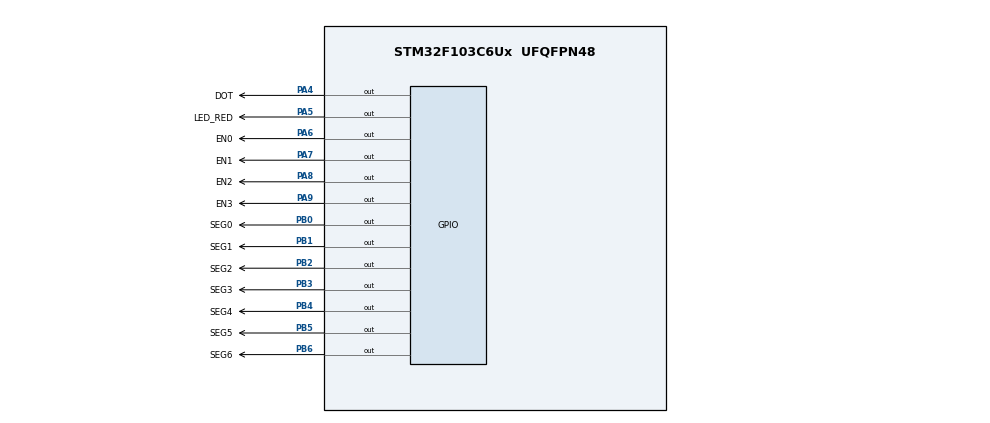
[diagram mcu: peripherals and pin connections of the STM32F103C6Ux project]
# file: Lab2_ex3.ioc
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Mcu.Family=STM32F1
Mcu.Name=STM32F103C6Ux
Mcu.Package=UFQFPN48
NVIC.PriorityGroup=NVIC_PRIORITYGROUP_4
NVIC.TIM2_IRQn=true\:0\:0\:false\:false\:true\:true\:true
PA4.GPIO_Label=DOT
PA4.Signal=GPIO_Output
PA5.GPIO_Label=LED_RED
PA5.Signal=GPIO_Output
PA6.GPIO_Label=EN0
PA6.Signal=GPIO_Output
PA7.GPIO_Label=EN1
PA7.Signal=GPIO_Output
PA8.GPIO_Label=EN2
PA8.Signal=GPIO_Output
PA9.GPIO_Label=EN3
PA9.Signal=GPIO_Output
PB0.GPIO_Label=SEG0
PB0.Signal=GPIO_Output
PB1.GPIO_Label=SEG1
PB1.Signal=GPIO_Output
PB2.GPIO_Label=SEG2
PB2.Signal=GPIO_Output
PB3.GPIO_Label=SEG3
PB3.Signal=GPIO_Output
PB4.GPIO_Label=SEG4
PB4.Signal=GPIO_Output
PB5.GPIO_Label=SEG5
PB5.Signal=GPIO_Output
PB6.GPIO_Label=SEG6
PB6.Signal=GPIO_Output
ProjectManager.HeapSize=0x200
ProjectManager.StackSize=0x400
ProjectManager.TargetToolchain=STM32CubeIDE
RCC.APB1Freq_Value=8000000
RCC.APB2Freq_Value=8000000
TIM2.Period=9
TIM2.Prescaler=7999
VP_SYS_VS_ND.Mode=No_Debug
VP_TIM2_VS_ClockSourceINT.Mode=Internal
board=custom

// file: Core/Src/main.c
/* USER CODE BEGIN Header */
/**
  ******************************************************************************
  * @file           : main.c
  * @brief          : Main program body
  ******************************************************************************
  * @attention
  *
  * <h2><center>&copy; Copyright (c) 2022 STMicroelectronics.
  * All rights reserved.</center></h2>
  *
  * This software component is licensed by ST under BSD 3-Clause license,
  * the "License"; You may not use this file except in compliance with the
  * License. You may obtain a copy of the License at:
  *                        opensource.org/licenses/BSD-3-Clause
  *
  ******************************************************************************
  */
/* USER CODE END Header */
#include "main.h"

TIM_HandleTypeDef htim2;

void SystemClock_Config(void);
static void MX_TIM2_Init(void);
static void MX_GPIO_Init(void);

/* USER CODE BEGIN 0 */
void display7SEG(int num) {
	if (num==0) {
		HAL_GPIO_WritePin(SEG0_GPIO_Port, SEG0_Pin, RESET);
		HAL_GPIO_WritePin(SEG1_GPIO_Port, SEG1_Pin, RESET);
		HAL_GPIO_WritePin(SEG2_GPIO_Port, SEG2_Pin, RESET);
		HAL_GPIO_WritePin(SEG3_GPIO_Port, SEG3_Pin, RESET);
		HAL_GPIO_WritePin(SEG4_GPIO_Port, SEG4_Pin, RESET);
		HAL_GPIO_WritePin(SEG5_GPIO_Port, SEG5_Pin, RESET);
		HAL_GPIO_WritePin(SEG6_GPIO_Port, SEG6_Pin, SET);
	}
	if (num==1) {
		HAL_GPIO_WritePin(SEG0_GPIO_Port, SEG0_Pin, SET);
		HAL_GPIO_WritePin(SEG1_GPIO_Port, SEG1_Pin, RESET);
		HAL_GPIO_WritePin(SEG2_GPIO_Port, SEG2_Pin, RESET);
		HAL_GPIO_WritePin(SEG3_GPIO_Port, SEG3_Pin, SET);
		HAL_GPIO_WritePin(SEG4_GPIO_Port, SEG4_Pin, SET);
		HAL_GPIO_WritePin(SEG5_GPIO_Port, SEG5_Pin, SET);
		HAL_GPIO_WritePin(SEG6_GPIO_Port, SEG6_Pin, SET);
	}
	if (num==2) {
		HAL_GPIO_WritePin(SEG0_GPIO_Port, SEG0_Pin, RESET);
		HAL_GPIO_WritePin(SEG1_GPIO_Port, SEG1_Pin, RESET);
		HAL_GPIO_WritePin(SEG2_GPIO_Port, SEG2_Pin, SET);
		HAL_GPIO_WritePin(SEG3_GPIO_Port, SEG3_Pin, RESET);
		HAL_GPIO_WritePin(SEG4_GPIO_Port, SEG4_Pin, RESET);
		HAL_GPIO_WritePin(SEG5_GPIO_Port, SEG5_Pin, SET);
		HAL_GPIO_WritePin(SEG6_GPIO_Port, SEG6_Pin, RESET);
	}
	if (num==3) {
		HAL_GPIO_WritePin(SEG0_GPIO_Port, SEG0_Pin, RESET);
		HAL_GPIO_WritePin(SEG1_GPIO_Port, SEG1_Pin, RESET);
		HAL_GPIO_WritePin(SEG2_GPIO_Port, SEG2_Pin, RESET);
		HAL_GPIO_WritePin(SEG3_GPIO_Port, SEG3_Pin, RESET);
		HAL_GPIO_WritePin(SEG4_GPIO_Port, SEG4_Pin, SET);
		HAL_GPIO_WritePin(SEG5_GPIO_Port, SEG5_Pin, SET);
		HAL_GPIO_WritePin(SEG6_GPIO_Port, SEG6_Pin, RESET);
	}
	if (num==4) {
		HAL_GPIO_WritePin(SEG0_GPIO_Port, SEG0_Pin, SET);
		HAL_GPIO_WritePin(SEG1_GPIO_Port, SEG1_Pin, RESET);
		HAL_GPIO_WritePin(SEG2_GPIO_Port, SEG2_Pin, RESET);
		HAL_GPIO_WritePin(SEG3_GPIO_Port, SEG3_Pin, SET);
		HAL_GPIO_WritePin(SEG4_GPIO_Port, SEG4_Pin, SET);
		HAL_GPIO_WritePin(SEG5_GPIO_Port, SEG5_Pin, RESET);
		HAL_GPIO_WritePin(SEG6_GPIO_Port, SEG6_Pin, RESET);
	}
	if (num==5) {
		HAL_GPIO_WritePin(SEG0_GPIO_Port, SEG0_Pin, RESET);
		HAL_GPIO_WritePin(SEG1_GPIO_Port, SEG1_Pin, SET);
		HAL_GPIO_WritePin(SEG2_GPIO_Port, SEG2_Pin, RESET);
		HAL_GPIO_WritePin(SEG3_GPIO_Port, SEG3_Pin, RESET);
		HAL_GPIO_WritePin(SEG4_GPIO_Port, SEG4_Pin, SET);
		HAL_GPIO_WritePin(SEG5_GPIO_Port, SEG5_Pin, RESET);
		HAL_GPIO_WritePin(SEG6_GPIO_Port, SEG6_Pin, RESET);
	}
	if (num==6) {
		HAL_GPIO_WritePin(SEG0_GPIO_Port, SEG0_Pin, RESET);
		HAL_GPIO_WritePin(SEG1_GPIO_Port, SEG1_Pin, SET);
		HAL_GPIO_WritePin(SEG2_GPIO_Port, SEG2_Pin, RESET);
		HAL_GPIO_WritePin(SEG3_GPIO_Port, SEG3_Pin, RESET);
		HAL_GPIO_WritePin(SEG4_GPIO_Port, SEG4_Pin, RESET);
		HAL_GPIO_WritePin(SEG5_GPIO_Port, SEG5_Pin, RESET);
		HAL_GPIO_WritePin(SEG6_GPIO_Port, SEG6_Pin, RESET);
	}
	if (num==7) {
		HAL_GPIO_WritePin(SEG0_GPIO_Port, SEG0_Pin, RESET);
		HAL_GPIO_WritePin(SEG1_GPIO_Port, SEG1_Pin, RESET);
		HAL_GPIO_WritePin(SEG2_GPIO_Port, SEG2_Pin, RESET);
		HAL_GPIO_WritePin(SEG3_GPIO_Port, SEG3_Pin, SET);
		HAL_GPIO_WritePin(SEG4_GPIO_Port, SEG4_Pin, SET);
		HAL_GPIO_WritePin(SEG5_GPIO_Port, SEG5_Pin, SET);
		HAL_GPIO_WritePin(SEG6_GPIO_Port, SEG6_Pin, SET);
	}
	if (num==8) {
		HAL_GPIO_WritePin(SEG0_GPIO_Port, SEG0_Pin, RESET);
		HAL_GPIO_WritePin(SEG1_GPIO_Port, SEG1_Pin, RESET);
		HAL_GPIO_WritePin(SEG2_GPIO_Port, SEG2_Pin, RESET);
		HAL_GPIO_WritePin(SEG3_GPIO_Port, SEG3_Pin, RESET);
		HAL_GPIO_WritePin(SEG4_GPIO_Port, SEG4_Pin, RESET);
		HAL_GPIO_WritePin(SEG5_GPIO_Port, SEG5_Pin, RESET);
		HAL_GPIO_WritePin(SEG6_GPIO_Port, SEG6_Pin, RESET);
	}
	if (num==9) {
		HAL_GPIO_WritePin(SEG0_GPIO_Port, SEG0_Pin, RESET);
		HAL_GPIO_WritePin(SEG1_GPIO_Port, SEG1_Pin, RESET);
		HAL_GPIO_WritePin(SEG2_GPIO_Port, SEG2_Pin, RESET);
		HAL_GPIO_WritePin(SEG3_GPIO_Port, SEG3_Pin, RESET);
		HAL_GPIO_WritePin(SEG4_GPIO_Port, SEG4_Pin, SET);
		HAL_GPIO_WritePin(SEG5_GPIO_Port, SEG5_Pin, RESET);
		HAL_GPIO_WritePin(SEG6_GPIO_Port, SEG6_Pin, RESET);
	}
}
const int MAX_LED=4;
int index_led=0;
int led_buffer[4]={1,2,3,4};
void update7SEG(int index) {
	switch (index){
	case 0:
		HAL_GPIO_WritePin(EN0_GPIO_Port, EN0_Pin, RESET);
		HAL_GPIO_WritePin(EN1_GPIO_Port, EN1_Pin, SET);
		HAL_GPIO_WritePin(EN2_GPIO_Port, EN2_Pin, SET);
		HAL_GPIO_WritePin(EN3_GPIO_Port, EN3_Pin, SET);
		display7SEG(led_buffer[0]);
		break;
	case 1:
		HAL_GPIO_WritePin(EN0_GPIO_Port, EN0_Pin, SET);
		HAL_GPIO_WritePin(EN1_GPIO_Port, EN1_Pin, RESET);
		HAL_GPIO_WritePin(EN2_GPIO_Port, EN2_Pin, SET);
		HAL_GPIO_WritePin(EN3_GPIO_Port, EN3_Pin, SET);
		display7SEG(led_buffer[1]);
		break;
	case 2:
		HAL_GPIO_WritePin(EN0_GPIO_Port, EN0_Pin, SET);
		HAL_GPIO_WritePin(EN1_GPIO_Port, EN1_Pin, SET);
		HAL_GPIO_WritePin(EN2_GPIO_Port, EN2_Pin, SET);
		HAL_GPIO_WritePin(EN3_GPIO_Port, EN3_Pin, RESET);
		display7SEG(led_buffer[2]);
		break;
	case 3:
		HAL_GPIO_WritePin(EN0_GPIO_Port, EN0_Pin, SET);
		HAL_GPIO_WritePin(EN1_GPIO_Port, EN1_Pin, SET);
		HAL_GPIO_WritePin(EN2_GPIO_Port, EN2_Pin, RESET);
		HAL_GPIO_WritePin(EN3_GPIO_Port, EN3_Pin, SET);
		display7SEG(led_buffer[3]);
		break;
	default:
		break;
	}
}

int counter=50;
void HAL_TIM_PeriodElapsedCallback(TIM_HandleTypeDef *htim) {
	counter--;
	if (counter<=0) {
		counter=50;
		HAL_GPIO_TogglePin(LED_RED_GPIO_Port, LED_RED_Pin);
		if (index_led==0 || index_led==2)
			HAL_GPIO_TogglePin(DOT_GPIO_Port, DOT_Pin);
		if (index_led>3) index_led=0;
		update7SEG(index_led++);
	}
}
/* USER CODE END 0 */

int main(void)
{

  /* MCU Configuration--------------------------------------------------------*/

  /* Reset of all peripherals, Initializes the Flash interface and the Systick. */
  HAL_Init();

  /* Configure the system clock */
  SystemClock_Config();

  /* Initialize all configured peripherals */
  MX_TIM2_Init();
  MX_GPIO_Init();
  /* USER CODE BEGIN 2 */
  HAL_TIM_Base_Start_IT(&htim2);
  /* USER CODE END 2 */

  /* Infinite loop */
  while (1)
  {

  }
}

void SystemClock_Config(void)
{
  RCC_OscInitTypeDef RCC_OscInitStruct = {0};
  RCC_ClkInitTypeDef RCC_ClkInitStruct = {0};

  /** Initializes the RCC Oscillators according to the specified parameters
  * in the RCC_OscInitTypeDef structure.
  */
  RCC_OscInitStruct.OscillatorType = RCC_OSCILLATORTYPE_HSI;
  RCC_OscInitStruct.HSIState = RCC_HSI_ON;
  RCC_OscInitStruct.HSICalibrationValue = RCC_HSICALIBRATION_DEFAULT;
  RCC_OscInitStruct.PLL.PLLState = RCC_PLL_NONE;
  if (HAL_RCC_OscConfig(&RCC_OscInitStruct) != HAL_OK)
  {
    Error_Handler();
  }
  /** Initializes the CPU, AHB and APB buses clocks
  */
  RCC_ClkInitStruct.ClockType = RCC_CLOCKTYPE_HCLK|RCC_CLOCKTYPE_SYSCLK
                              |RCC_CLOCKTYPE_PCLK1|RCC_CLOCKTYPE_PCLK2;
  RCC_ClkInitStruct.SYSCLKSource = RCC_SYSCLKSOURCE_HSI;
  RCC_ClkInitStruct.AHBCLKDivider = RCC_SYSCLK_DIV1;
  RCC_ClkInitStruct.APB1CLKDivider = RCC_HCLK_DIV1;
  RCC_ClkInitStruct.APB2CLKDivider = RCC_HCLK_DIV1;

  if (HAL_RCC_ClockConfig(&RCC_ClkInitStruct, FLASH_LATENCY_0) != HAL_OK)
  {
    Error_Handler();
  }
}

static void MX_TIM2_Init(void)
{

  TIM_ClockConfigTypeDef sClockSourceConfig = {0};
  TIM_MasterConfigTypeDef sMasterConfig = {0};

  htim2.Instance = TIM2;
  htim2.Init.Prescaler = 7999;
  htim2.Init.CounterMode = TIM_COUNTERMODE_UP;
  htim2.Init.Period = 9;
  htim2.Init.ClockDivision = TIM_CLOCKDIVISION_DIV1;
  htim2.Init.AutoReloadPreload = TIM_AUTORELOAD_PRELOAD_DISABLE;
  if (HAL_TIM_Base_Init(&htim2) != HAL_OK)
  {
    Error_Handler();
  }
  sClockSourceConfig.ClockSource = TIM_CLOCKSOURCE_INTERNAL;
  if (HAL_TIM_ConfigClockSource(&htim2, &sClockSourceConfig) != HAL_OK)
  {
    Error_Handler();
  }
  sMasterConfig.MasterOutputTrigger = TIM_TRGO_RESET;
  sMasterConfig.MasterSlaveMode = TIM_MASTERSLAVEMODE_DISABLE;
  if (HAL_TIMEx_MasterConfigSynchronization(&htim2, &sMasterConfig) != HAL_OK)
  {
    Error_Handler();
  }

}

static void MX_GPIO_Init(void)
{
  GPIO_InitTypeDef GPIO_InitStruct = {0};

  /* GPIO Ports Clock Enable */
  __HAL_RCC_GPIOA_CLK_ENABLE();
  __HAL_RCC_GPIOB_CLK_ENABLE();

  /*Configure GPIO pin Output Level */
  HAL_GPIO_WritePin(GPIOA, DOT_Pin|LED_RED_Pin|EN0_Pin|EN1_Pin
                          |EN2_Pin|EN3_Pin, GPIO_PIN_RESET);

  /*Configure GPIO pin Output Level */
  HAL_GPIO_WritePin(GPIOB, SEG0_Pin|SEG1_Pin|SEG2_Pin|SEG3_Pin
                          |SEG4_Pin|SEG5_Pin|SEG6_Pin, GPIO_PIN_RESET);

  /*Configure GPIO pins : DOT_Pin LED_RED_Pin EN0_Pin EN1_Pin
                           EN2_Pin EN3_Pin */
  GPIO_InitStruct.Pin = DOT_Pin|LED_RED_Pin|EN0_Pin|EN1_Pin
                          |EN2_Pin|EN3_Pin;
  GPIO_InitStruct.Mode = GPIO_MODE_OUTPUT_PP;
  GPIO_InitStruct.Pull = GPIO_NOPULL;
  GPIO_InitStruct.Speed = GPIO_SPEED_FREQ_LOW;
  HAL_GPIO_Init(GPIOA, &GPIO_InitStruct);

  /*Configure GPIO pins : SEG0_Pin SEG1_Pin SEG2_Pin SEG3_Pin
                           SEG4_Pin SEG5_Pin SEG6_Pin */
  GPIO_InitStruct.Pin = SEG0_Pin|SEG1_Pin|SEG2_Pin|SEG3_Pin
                          |SEG4_Pin|SEG5_Pin|SEG6_Pin;
  GPIO_InitStruct.Mode = GPIO_MODE_OUTPUT_PP;
  GPIO_InitStruct.Pull = GPIO_NOPULL;
  GPIO_InitStruct.Speed = GPIO_SPEED_FREQ_LOW;
  HAL_GPIO_Init(GPIOB, &GPIO_InitStruct);

}

void Error_Handler(void)
{
  __disable_irq();
  while (1)
  {
  }
}

/************************ (C) COPYRIGHT STMicroelectronics *****END OF FILE****/
